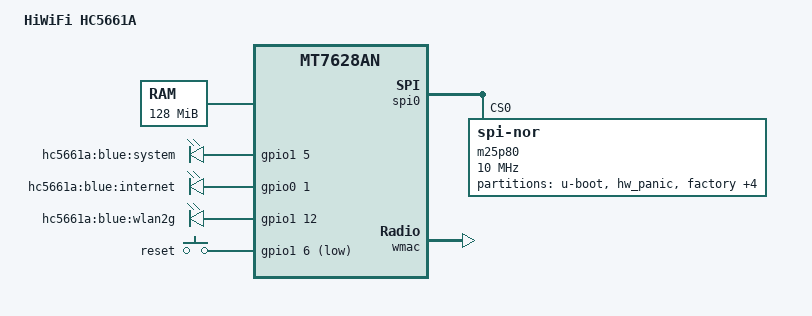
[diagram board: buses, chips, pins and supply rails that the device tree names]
/dts-v1/;

#include "mt7628an.dtsi"

#include <dt-bindings/gpio/gpio.h>
#include <dt-bindings/input/input.h>

/ {
	compatible = "hiwifi,hc5661a", "mediatek,mt7628an-soc";
	model = "HiWiFi HC5661A";

	chosen {
		bootargs = "console=ttyS0,115200";
	};

	memory@0 {
		device_type = "memory";
		reg = <0x0 0x8000000>;
	};

	gpio-leds {
		compatible = "gpio-leds";

		system {
			label = "hc5661a:blue:system";
			gpios = <&gpio1 5 GPIO_ACTIVE_HIGH>;
		};
		internet {
			label = "hc5661a:blue:internet";
			gpios = <&gpio0 1 GPIO_ACTIVE_HIGH>;
		};
		wlan2g {
			label = "hc5661a:blue:wlan2g";
			gpios = <&gpio1 12 GPIO_ACTIVE_HIGH>;
		};
	};

	gpio-keys {
		compatible = "gpio-keys-polled";
		#address-cells = <1>;
		#size-cells = <0>;
		poll-interval = <20>;

		reset {
			label = "reset";
			gpios = <&gpio1 6 GPIO_ACTIVE_LOW>;
			linux,code = <KEY_RESTART>;
		};
	};
};

&pinctrl {
	state_default: pinctrl0 {
		gpio {
			ralink,group = "i2c", "refclk", "wled_an";
			ralink,function = "gpio";
		};
	};
};

&spi0 {
	status = "okay";

	m25p80@0 {
		#address-cells = <1>;
		#size-cells = <1>;
		compatible = "jedec,spi-nor";
		reg = <0>;
		linux,modalias = "m25p80", "w25q128";
		spi-max-frequency = <10000000>;
		m25p,chunked-io = <32>;

		partition@0 {
			label = "u-boot";
			reg = <0x0 0x30000>;
			read-only;
		};

		partition@30000 {
			label = "hw_panic";
			reg = <0x30000 0x10000>;
			read-only;
		};

		factory: partition@40000 {
			label = "factory";
			reg = <0x40000 0x10000>;
			read-only;
		};

		partition@50000 {
			label = "firmware";
			reg = <0x50000 0xf70000>;
		};

		partition@fc0000 {
			label = "oem";
			reg = <0xfc0000 0x20000>;
			read-only;
		};

		bdinfo: partition@fe0000 {
			label = "bdinfo";
			reg = <0xfe0000 0x10000>;
			read-only;
		};

		partition@ff0000 {
			label = "backup";
			reg = <0xff0000 0x10000>;
			read-only;
		};
	};
};

&ethernet {
	mtd-mac-address = <&factory 0x4>;
	mediatek,portmap = "wllll";
};

&wmac {
	status = "okay";
};
